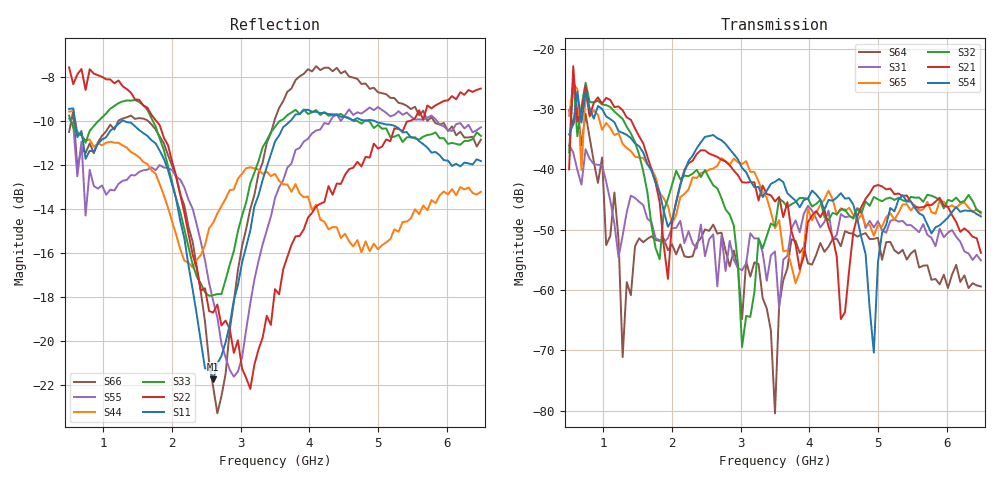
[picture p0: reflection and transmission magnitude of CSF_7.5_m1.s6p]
!Keysight Technologies,M9804A,MY58100912,A.14.10.03
!Date: Thursday, April 27, 2023 10:28:33
!Correction: S11(C  6-Port  )
!S12(C  6-Port  )
!S13(C  6-Port  )
!S14(C  6-Port  )
!S15(C  6-Port  )
!S16(C  6-Port  )
!S21(C  6-Port  )
!S22(C  6-Port  )
!S23(C  6-Port  )
!S24(C  6-Port  )
!S25(C  6-Port  )
!S26(C  6-Port  )
!S31(C  6-Port  )
!S32(C  6-Port  )
!S33(C  6-Port  )
!S34(C  6-Port  )
!S35(C  6-Port  )
!S36(C  6-Port  )
!S41(C  6-Port  )
!S42(C  6-Port  )
!S43(C  6-Port  )
!S44(C  6-Port  )
!S45(C  6-Port  )
!S46(C  6-Port  )
!S51(C  6-Port  )
!S52(C  6-Port  )
!S53(C  6-Port  )
!S54(C  6-Port  )
!S55(C  6-Port  )
!S56(C  6-Port  )
!S61(C  6-Port  )
!S62(C  6-Port  )
!S63(C  6-Port  )
!S64(C  6-Port  )
!S65(C  6-Port  )
!S66(C  6-Port  )
!S6P File: Measurement: :
# Hz S  RI  R 50
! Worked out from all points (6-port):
!   101 points, 500 MHz to 6.5 GHz, reference 50 ohm
!   strongest paths, dB at 500 MHz, 2 GHz, 3.5 GHz, 5 GHz, 6.5 GHz:
!     S54: -34.2, -48.4, -42.1, -55.4, -47.8
!     S21: -40.0, -48.6, -45.3, -42.6, -53.8
!     S32: -37.2, -42.5, -49.4, -45.0, -47.1
!     S65: -31.1, -49.0, -49.8, -49.3, -47.3
!     S31: -36.0, -49.8, -53.6, -48.6, -55.1
!     S64: -30.2, -52.4, -80.4, -51.4, -59.4
!   lowest |S11| = -21.7 dB at 2.6 GHz (marker M1), VSWR 1.18, Z = 42.7 + j1.95 ohm
!   |S11| at or under -10 dB: 586.4 MHz to 1.268 GHz (681.8 MHz wide, 73.5 % of centre); 1.303 GHz to 3.721 GHz (2.419 GHz wide, 96.3 % of centre); 4.953 GHz to end of sweep
